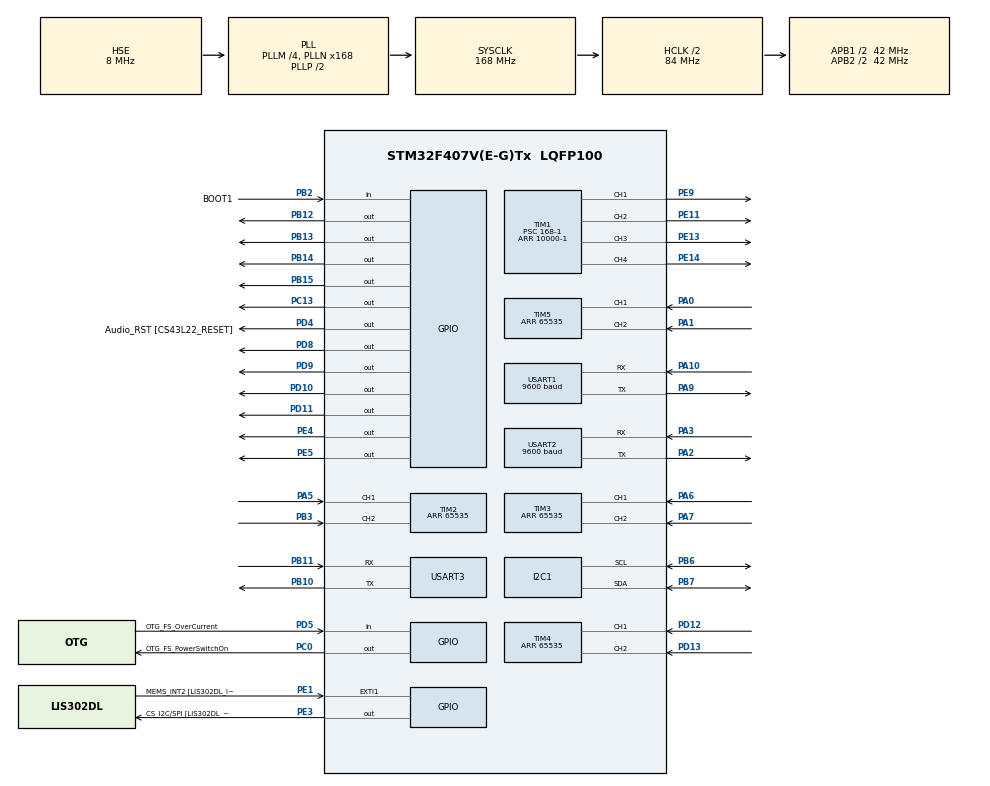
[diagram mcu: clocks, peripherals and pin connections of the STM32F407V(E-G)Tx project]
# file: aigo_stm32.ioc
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Dma.I2C1_RX.0.Direction=DMA_PERIPH_TO_MEMORY
Dma.I2C1_RX.0.FIFOMode=DMA_FIFOMODE_ENABLE
Dma.I2C1_RX.0.FIFOThreshold=DMA_FIFO_THRESHOLD_FULL
Dma.I2C1_RX.0.Instance=DMA1_Stream0
Dma.I2C1_RX.0.MemBurst=DMA_MBURST_SINGLE
Dma.I2C1_RX.0.MemDataAlignment=DMA_MDATAALIGN_BYTE
Dma.I2C1_RX.0.MemInc=DMA_MINC_ENABLE
Dma.I2C1_RX.0.Mode=DMA_NORMAL
Dma.I2C1_RX.0.PeriphBurst=DMA_PBURST_SINGLE
Dma.I2C1_RX.0.PeriphDataAlignment=DMA_PDATAALIGN_BYTE
Dma.I2C1_RX.0.PeriphInc=DMA_PINC_DISABLE
Dma.I2C1_RX.0.Priority=DMA_PRIORITY_LOW
Dma.I2C1_TX.1.Direction=DMA_MEMORY_TO_PERIPH
Dma.I2C1_TX.1.FIFOMode=DMA_FIFOMODE_ENABLE
Dma.I2C1_TX.1.FIFOThreshold=DMA_FIFO_THRESHOLD_FULL
Dma.I2C1_TX.1.Instance=DMA1_Stream6
Dma.I2C1_TX.1.MemBurst=DMA_MBURST_SINGLE
Dma.I2C1_TX.1.MemDataAlignment=DMA_MDATAALIGN_BYTE
Dma.I2C1_TX.1.MemInc=DMA_MINC_ENABLE
Dma.I2C1_TX.1.Mode=DMA_NORMAL
Dma.I2C1_TX.1.PeriphBurst=DMA_PBURST_SINGLE
Dma.I2C1_TX.1.PeriphDataAlignment=DMA_PDATAALIGN_BYTE
Dma.I2C1_TX.1.PeriphInc=DMA_PINC_DISABLE
Dma.I2C1_TX.1.Priority=DMA_PRIORITY_LOW
Dma.Request0=I2C1_RX
Dma.Request1=I2C1_TX
Dma.Request2=USART3_RX
Dma.Request3=USART2_RX
Dma.USART2_RX.3.Direction=DMA_PERIPH_TO_MEMORY
Dma.USART2_RX.3.FIFOMode=DMA_FIFOMODE_ENABLE
Dma.USART2_RX.3.FIFOThreshold=DMA_FIFO_THRESHOLD_FULL
Dma.USART2_RX.3.Instance=DMA1_Stream5
Dma.USART2_RX.3.MemBurst=DMA_MBURST_SINGLE
Dma.USART2_RX.3.MemDataAlignment=DMA_MDATAALIGN_BYTE
Dma.USART2_RX.3.MemInc=DMA_MINC_ENABLE
Dma.USART2_RX.3.Mode=DMA_NORMAL
Dma.USART2_RX.3.PeriphBurst=DMA_PBURST_SINGLE
Dma.USART2_RX.3.PeriphDataAlignment=DMA_PDATAALIGN_BYTE
Dma.USART2_RX.3.PeriphInc=DMA_PINC_DISABLE
Dma.USART2_RX.3.Priority=DMA_PRIORITY_LOW
Dma.USART3_RX.2.Direction=DMA_PERIPH_TO_MEMORY
Dma.USART3_RX.2.FIFOMode=DMA_FIFOMODE_ENABLE
Dma.USART3_RX.2.FIFOThreshold=DMA_FIFO_THRESHOLD_FULL
Dma.USART3_RX.2.Instance=DMA1_Stream1
Dma.USART3_RX.2.MemBurst=DMA_MBURST_SINGLE
Dma.USART3_RX.2.MemDataAlignment=DMA_MDATAALIGN_BYTE
Dma.USART3_RX.2.MemInc=DMA_MINC_ENABLE
Dma.USART3_RX.2.Mode=DMA_NORMAL
Dma.USART3_RX.2.PeriphBurst=DMA_PBURST_SINGLE
Dma.USART3_RX.2.PeriphDataAlignment=DMA_PDATAALIGN_BYTE
Dma.USART3_RX.2.PeriphInc=DMA_PINC_DISABLE
Dma.USART3_RX.2.Priority=DMA_PRIORITY_LOW
I2C1.I2C_Mode=I2C_Fast
Mcu.Family=STM32F4
Mcu.Name=STM32F407V(E-G)Tx
Mcu.Package=LQFP100
NVIC.DMA1_Stream0_IRQn=true\:0\:0\:false\:false\:true\:false\:true
NVIC.DMA1_Stream1_IRQn=true\:0\:0\:false\:false\:true\:false\:true
NVIC.DMA1_Stream5_IRQn=true\:0\:0\:false\:false\:true\:false\:true
NVIC.DMA1_Stream6_IRQn=true\:0\:0\:false\:false\:true\:false\:true
NVIC.I2C1_ER_IRQn=true\:0\:0\:false\:false\:true\:true\:true
NVIC.I2C1_EV_IRQn=true\:0\:0\:false\:false\:true\:true\:true
NVIC.PriorityGroup=NVIC_PRIORITYGROUP_0
NVIC.TIM6_DAC_IRQn=true\:0\:0\:false\:false\:true\:true\:true
NVIC.USART1_IRQn=true\:0\:0\:false\:false\:true\:true\:true
PA0-WKUP.Signal=S_TIM5_CH1
PA1.Signal=S_TIM5_CH2
PA10.Mode=Asynchronous
PA10.Signal=USART1_RX
PA13.Mode=Serial_Wire
PA13.Signal=SYS_JTMS-SWDIO
PA14.Mode=Serial_Wire
PA14.Signal=SYS_JTCK-SWCLK
PA2.Mode=Asynchronous
PA2.Signal=USART2_TX
PA3.Mode=Asynchronous
PA3.Signal=USART2_RX
PA5.Signal=S_TIM2_CH1_ETR
PA6.GPIO_PuPd=GPIO_NOPULL
PA6.Signal=S_TIM3_CH1
PA7.GPIO_PuPd=GPIO_NOPULL
PA7.Signal=S_TIM3_CH2
PA9.Mode=Asynchronous
PA9.Signal=USART1_TX
PB10.Mode=Asynchronous
PB10.Signal=USART3_TX
PB11.Mode=Asynchronous
PB11.Signal=USART3_RX
PB12.Signal=GPIO_Output
PB13.Signal=GPIO_Output
PB14.Signal=GPIO_Output
PB15.Signal=GPIO_Output
PB2.GPIO_Label=BOOT1
PB2.GPIO_Mode=GPIO_MODE_INPUT
PB2.GPIO_PuPd=GPIO_NOPULL
PB2.Signal=GPIO_Input
PB3.Signal=S_TIM2_CH2
PB6.Mode=I2C
PB6.Signal=I2C1_SCL
PB7.Mode=I2C
PB7.Signal=I2C1_SDA
PC0.GPIO_Label=OTG_FS_PowerSwitchOn
PC0.GPIO_PuPd=GPIO_NOPULL
PC0.GPIO_Speed=GPIO_SPEED_FREQ_LOW
PC0.PinState=GPIO_PIN_SET
PC0.Signal=GPIO_Output
PC13-ANTI_TAMP.Signal=GPIO_Output
PC14-OSC32_IN.Mode=LSE-External-Oscillator
PC14-OSC32_IN.Signal=RCC_OSC32_IN
PC15-OSC32_OUT.Mode=LSE-External-Oscillator
PC15-OSC32_OUT.Signal=RCC_OSC32_OUT
PD10.Signal=GPIO_Output
PD11.Signal=GPIO_Output
PD12.GPIO_PuPd=GPIO_NOPULL
PD12.Signal=S_TIM4_CH1
PD13.GPIO_PuPd=GPIO_NOPULL
PD13.Signal=S_TIM4_CH2
PD4.GPIO_Label=Audio_RST [CS43L22_RESET]
PD4.GPIO_PuPd=GPIO_NOPULL
PD4.GPIO_Speed=GPIO_SPEED_FREQ_LOW
PD4.Signal=GPIO_Output
PD5.GPIO_Label=OTG_FS_OverCurrent
PD5.GPIO_Mode=GPIO_MODE_INPUT
PD5.GPIO_PuPd=GPIO_NOPULL
PD5.Signal=GPIO_Input
PD8.Signal=GPIO_Output
PD9.Signal=GPIO_Output
PE1.GPIO_Label=MEMS_INT2 [LIS302DL_INT2]
PE1.GPIO_ModeDefaultEXTI=GPIO_MODE_EVT_RISING
PE1.GPIO_PuPd=GPIO_NOPULL
PE1.Signal=GPXTI1
PE11.Signal=S_TIM1_CH2
PE13.Signal=S_TIM1_CH3
PE14.Signal=S_TIM1_CH4
PE3.GPIO_Label=CS_I2C/SPI [LIS302DL_CS_I2C/SPI]
PE3.GPIO_PuPd=GPIO_NOPULL
PE3.GPIO_Speed=GPIO_SPEED_FREQ_LOW
PE3.Signal=GPIO_Output
PE4.Signal=GPIO_Output
PE5.Signal=GPIO_Output
PE9.Signal=S_TIM1_CH1
PH0-OSC_IN.Mode=HSE-External-Oscillator
PH0-OSC_IN.Signal=RCC_OSC_IN
PH1-OSC_OUT.Mode=HSE-External-Oscillator
PH1-OSC_OUT.Signal=RCC_OSC_OUT
ProjectManager.HeapSize=0x200
ProjectManager.StackSize=0x400
ProjectManager.TargetToolchain=STM32CubeIDE
RCC.48MHZClocksFreq_Value=112000000
RCC.AHBCLKDivider=RCC_SYSCLK_DIV2
RCC.AHBFreq_Value=84000000
RCC.APB1CLKDivider=RCC_HCLK_DIV2
RCC.APB1Freq_Value=42000000
RCC.APB1TimFreq_Value=84000000
RCC.APB2CLKDivider=RCC_HCLK_DIV2
RCC.APB2Freq_Value=42000000
RCC.APB2TimFreq_Value=84000000
RCC.CortexFreq_Value=84000000
RCC.HCLKFreq_Value=84000000
RCC.HSE_VALUE=8000000
RCC.HSI_VALUE=16000000
RCC.PLLM=4
RCC.PLLN=168
RCC.PLLQ=3
RCC.PLLSourceVirtual=RCC_PLLSOURCE_HSE
RCC.SYSCLKFreq_VALUE=168000000
RCC.SYSCLKSource=RCC_SYSCLKSOURCE_PLLCLK
RCC.VCOOutputFreq_Value=336000000
SH.S_TIM1_CH1.0=TIM1_CH1,PWM Generation1 CH1
SH.S_TIM1_CH2.0=TIM1_CH2,PWM Generation2 CH2
SH.S_TIM1_CH3.0=TIM1_CH3,PWM Generation3 CH3
SH.S_TIM1_CH4.0=TIM1_CH4,PWM Generation4 CH4
SH.S_TIM2_CH1_ETR.0=TIM2_CH1,Encoder_Interface
SH.S_TIM2_CH2.0=TIM2_CH2,Encoder_Interface
SH.S_TIM3_CH1.0=TIM3_CH1,Encoder_Interface
SH.S_TIM3_CH2.0=TIM3_CH2,Encoder_Interface
SH.S_TIM4_CH1.0=TIM4_CH1,Encoder_Interface
SH.S_TIM4_CH2.0=TIM4_CH2,Encoder_Interface
SH.S_TIM5_CH1.0=TIM5_CH1,Encoder_Interface
SH.S_TIM5_CH2.0=TIM5_CH2,Encoder_Interface
TIM1.Channel-PWM\ Generation1\ CH1=TIM_CHANNEL_1
TIM1.Channel-PWM\ Generation2\ CH2=TIM_CHANNEL_2
TIM1.Channel-PWM\ Generation3\ CH3=TIM_CHANNEL_3
TIM1.Channel-PWM\ Generation4\ CH4=TIM_CHANNEL_4
TIM1.Period=10000-1
TIM1.Prescaler=168-1
TIM2.AutoReloadPreload=TIM_AUTORELOAD_PRELOAD_ENABLE
TIM2.EncoderMode=TIM_ENCODERMODE_TI12
TIM2.IC1Filter=10
TIM2.IC2Filter=10
TIM2.Period=65535
TIM3.AutoReloadPreload=TIM_AUTORELOAD_PRELOAD_ENABLE
TIM3.EncoderMode=TIM_ENCODERMODE_TI12
TIM3.IC1Filter=10
TIM3.IC2Filter=10
TIM3.Period=65535
TIM4.AutoReloadPreload=TIM_AUTORELOAD_PRELOAD_ENABLE
TIM4.EncoderMode=TIM_ENCODERMODE_TI12
TIM4.IC1Filter=10
TIM4.IC2Filter=10
TIM4.Period=65535
TIM5.AutoReloadPreload=TIM_AUTORELOAD_PRELOAD_ENABLE
TIM5.IC1Filter=10
TIM5.IC2Filter=10
TIM5.Period=65535
TIM6.Period=199
TIM6.Prescaler=41999
USART1.BaudRate=9600
USART1.VirtualMode=VM_ASYNC
USART2.BaudRate=9600
USART2.VirtualMode=VM_ASYNC
USART3.VirtualMode=VM_ASYNC
VP_TIM1_VS_ClockSourceINT.Mode=Internal
VP_TIM6_VS_ClockSourceINT.Mode=Enable_Timer
board=STM32F407G-DISC1

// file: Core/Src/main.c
/* USER CODE BEGIN Header */
/**
  ******************************************************************************
  * @file           : main.c
  * @brief          : Main program body
  ******************************************************************************
  * @attention
  *
  * <h2><center>&copy; Copyright (c) 2021 STMicroelectronics.
  * All rights reserved.</center></h2>
  *
  * This software component is licensed by ST under BSD 3-Clause license,
  * the "License"; You may not use this file except in compliance with the
  * License. You may obtain a copy of the License at:
  *                        opensource.org/licenses/BSD-3-Clause
  *
  ******************************************************************************
  */
/* USER CODE END Header */
#include "main.h"
#include "dma.h"
#include "i2c.h"
#include "tim.h"
#include "usart.h"
#include "gpio.h"

/* USER CODE BEGIN Includes */
#include "MPU9250.h"
#include "math.h"
#include "stdlib.h"
#include "motor.h"
#include "gps.h"
/* USER CODE END Includes */

/* USER CODE BEGIN PM */
extern uint32_t motor_speed;
extern uint32_t motor_PWM[];
const uint32_t border = 2000;
extern float_t gyroBias[], accelBias[];
/* USER CODE END PM */

/* USER CODE BEGIN PV */
uint8_t byte_serial = 0;

uint8_t waypoint[32] = {0};
uint32_t motor_DIFF[4] = {0};

/***********lidar************/

bool scan_start = false;
uint8_t rx3_start[7] = {0};
uint8_t rx3_data[5] = {0};
uint8_t Q = 0;
bool S = false;
uint16_t angle;
uint16_t d;
uint16_t distance[360] = {0};
int16_t avg_DIFF = 0;
uint32_t last = 0;
uint8_t scan_command[2] = {0xA5,0x20};
uint8_t stop_command[2] = {0xA5,0x25};
uint8_t soft_reboot[2] = {0xA5,0x40};
uint8_t scan_express[2] = {0xA5,0x82};
uint8_t scan_force[2] = {0xA5,0x21};
uint8_t device_info[2] = {0xA5,0x50};
uint8_t health_status[2] = {0xA5,0x52};
uint8_t sample_rate[2] = {0xA5,0x59};
uint8_t scan_response[7] = {0xa5, 0x5a, 0x5, 0x0, 0x0, 0x40, 0x81};
/* USER CODE END PV */

void SystemClock_Config(void);
/* USER CODE BEGIN PFP */
void Initialize_AIGO(void);
void AIGO_Bluetooth(void);

void AvoidCollision(void);
void ReceiveLidar(void);
void HAL_UART_RxCpltCallback(UART_HandleTypeDef *huart){
  if(huart->Instance == USART1){
    switch(byte_serial){
    case '1':
      mvForward(motor_speed);
      break;
    case '2':
      mvBackward(motor_speed);
      break;
    case '3':
      mvLeft(motor_speed);
      break;
    case '4':
      mvRight(motor_speed);
      break;
    case '5':
      Stop();
      break;
    }
    HAL_UART_Receive_IT(&huart1, &byte_serial, 1);
  }
  if(huart->Instance == USART2){
    setWaypoint();
    HAL_UART_Receive_DMA(&huart2, waypoint, 32);
  }
  if(huart->Instance == USART3){
    ReceiveLidar();
    HAL_UART_Receive_DMA(&huart3, rx3_data, 10);
  }
}
bool array_element_of_index_equal(uint8_t a[], uint8_t b[], uint8_t size) {
   uint8_t i;
   for(i=0; i<size; i++){
      if( a[i] != b[i] )
         return false;
   }
   return true;
}
int16_t array_avg_compare(uint16_t distance[]){

   uint32_t sum_R = 0;
   uint32_t sum_L = 0;
   uint8_t len_L = 0;
   uint8_t len_R = 0;
   uint16_t avg_R = 0;
   uint16_t avg_L = 0;
   int16_t avg_diff = 0;

   for(int i=0; i<90; i++){
      sum_R += distance[i];
      if(distance[i]!=0){
         len_R++;
      }
   }
   avg_R = sum_R/len_R;

   for(int i=270; i<360; i++){
      sum_L += distance[i];
      if(distance[i]!=0){
         len_L++;
      }
   }
   avg_L = sum_L/len_L;

   avg_diff = avg_R - avg_L;

   return avg_diff;
}
/* USER CODE END PFP */

int main(void)
{

  /* MCU Configuration--------------------------------------------------------*/

  /* Reset of all peripherals, Initializes the Flash interface and the Systick. */
  HAL_Init();

  /* Configure the system clock */
  SystemClock_Config();

  /* Initialize all configured peripherals */
  MX_GPIO_Init();
  MX_TIM1_Init();
  MX_TIM2_Init();
  MX_TIM3_Init();
  MX_TIM4_Init();
  MX_TIM5_Init();
  MX_TIM6_Init();
  MX_USART1_UART_Init();
  MX_USART2_UART_Init();
  MX_DMA_Init();
  MX_I2C1_Init();
  MX_USART3_UART_Init();
  /* USER CODE BEGIN 2 */

  Initialize_AIGO();
  Startup();
  /* USER CODE END 2 */

  /* Infinite loop */
  /* USER CODE BEGIN WHILE */
  while (1)
  {
    ReceiveLidar();
    /* USER CODE END WHILE */

    /* USER CODE BEGIN 3 */
    goWaypoint();
  }
  /* USER CODE END 3 */
}

void SystemClock_Config(void)
{
  RCC_OscInitTypeDef RCC_OscInitStruct = {0};
  RCC_ClkInitTypeDef RCC_ClkInitStruct = {0};

  /** Configure the main internal regulator output voltage
  */
  __HAL_RCC_PWR_CLK_ENABLE();
  __HAL_PWR_VOLTAGESCALING_CONFIG(PWR_REGULATOR_VOLTAGE_SCALE1);
  /** Initializes the RCC Oscillators according to the specified parameters
  * in the RCC_OscInitTypeDef structure.
  */
  RCC_OscInitStruct.OscillatorType = RCC_OSCILLATORTYPE_HSE;
  RCC_OscInitStruct.HSEState = RCC_HSE_ON;
  RCC_OscInitStruct.PLL.PLLState = RCC_PLL_ON;
  RCC_OscInitStruct.PLL.PLLSource = RCC_PLLSOURCE_HSE;
  RCC_OscInitStruct.PLL.PLLM = 4;
  RCC_OscInitStruct.PLL.PLLN = 168;
  RCC_OscInitStruct.PLL.PLLP = RCC_PLLP_DIV2;
  RCC_OscInitStruct.PLL.PLLQ = 3;
  if (HAL_RCC_OscConfig(&RCC_OscInitStruct) != HAL_OK)
  {
    Error_Handler();
  }
  /** Initializes the CPU, AHB and APB buses clocks
  */
  RCC_ClkInitStruct.ClockType = RCC_CLOCKTYPE_HCLK|RCC_CLOCKTYPE_SYSCLK
                              |RCC_CLOCKTYPE_PCLK1|RCC_CLOCKTYPE_PCLK2;
  RCC_ClkInitStruct.SYSCLKSource = RCC_SYSCLKSOURCE_PLLCLK;
  RCC_ClkInitStruct.AHBCLKDivider = RCC_SYSCLK_DIV2;
  RCC_ClkInitStruct.APB1CLKDivider = RCC_HCLK_DIV2;
  RCC_ClkInitStruct.APB2CLKDivider = RCC_HCLK_DIV2;

  if (HAL_RCC_ClockConfig(&RCC_ClkInitStruct, FLASH_LATENCY_2) != HAL_OK)
  {
    Error_Handler();
  }
}

/* USER CODE BEGIN 4 */
void Initialize_AIGO(){

  //Initialize Motor PWM
  //LF RF : GPIOB
  //LB RB : GPIOD

  HAL_TIM_PWM_Start(&htim1, TIM_CHANNEL_1);
  HAL_TIM_PWM_Start(&htim1, TIM_CHANNEL_2);
  HAL_TIM_PWM_Start(&htim1, TIM_CHANNEL_3);
  HAL_TIM_PWM_Start(&htim1, TIM_CHANNEL_4);

  HAL_GPIO_WritePin(GPIOB, GPIO_PIN_12, SET);
  HAL_GPIO_WritePin(GPIOB, GPIO_PIN_13, RESET);

  HAL_GPIO_WritePin(GPIOB, GPIO_PIN_14, SET);
  HAL_GPIO_WritePin(GPIOB, GPIO_PIN_15, RESET);

  HAL_GPIO_WritePin(GPIOD, GPIO_PIN_8, SET);
  HAL_GPIO_WritePin(GPIOD, GPIO_PIN_9, RESET);

  HAL_GPIO_WritePin(GPIOD, GPIO_PIN_10, SET);
  HAL_GPIO_WritePin(GPIOD, GPIO_PIN_11, RESET);

  //Initialize Encoder
  HAL_TIM_Encoder_Start(&htim2, TIM_CHANNEL_ALL);
  HAL_TIM_Encoder_Start(&htim3, TIM_CHANNEL_ALL);
  HAL_TIM_Encoder_Start(&htim4, TIM_CHANNEL_ALL);
  HAL_TIM_Encoder_Start(&htim5, TIM_CHANNEL_ALL);

  HAL_UART_Receive_DMA(&huart1, &byte_serial, 1);
  HAL_UART_Receive_DMA(&huart2, waypoint, 15);
  HAL_UART_Receive_DMA(&huart3, rx3_data, 10);
  HAL_TIM_Base_Start_IT(&htim6);

  calibrateMPU9250(gyroBias, accelBias);

  while(MPU9250_Init());

  HAL_UART_Transmit(&huart3, scan_command, 2, 100);
}

void AvoidCollision(){

}
void ReceiveLidar(){
  if(scan_start){

     Q = rx3_data[0]>>2;
     S = (rx3_data[0] & 0x01) ? 1 : 0;
     angle = (rx3_data[2]<<7 | rx3_data[1]>>1)/64;
     d = (rx3_data[4]<<8 | rx3_data[3])/4;
     if(d >= 3000){
      distance[angle] = 3000;
     }
     else{
      distance[angle] = d;
     }

     if(S == 1){
      avg_DIFF = array_avg_compare(distance);
      if(avg_DIFF > border || avg_DIFF*(-1) > border){
        if(avg_DIFF>0)
          avg_DIFF = border;
        else
          avg_DIFF = (-1) * border;
      }
      motor_PWM[0] += avg_DIFF;
      motor_PWM[1] -= avg_DIFF;
      motor_PWM[2] += avg_DIFF;
      motor_PWM[3] -= avg_DIFF;
     }
    }
   else{
    if(HAL_UART_Receive(&huart3, rx3_start, 7, 10) == HAL_OK){
     if (array_element_of_index_equal(rx3_start, scan_response, 7)){
      scan_start = true;
     }
    }
   }
}
/* USER CODE END 4 */

void Error_Handler(void)
{
  __disable_irq();
  while (1)
  {
  }
}

/************************ (C) COPYRIGHT STMicroelectronics *****END OF FILE****/
